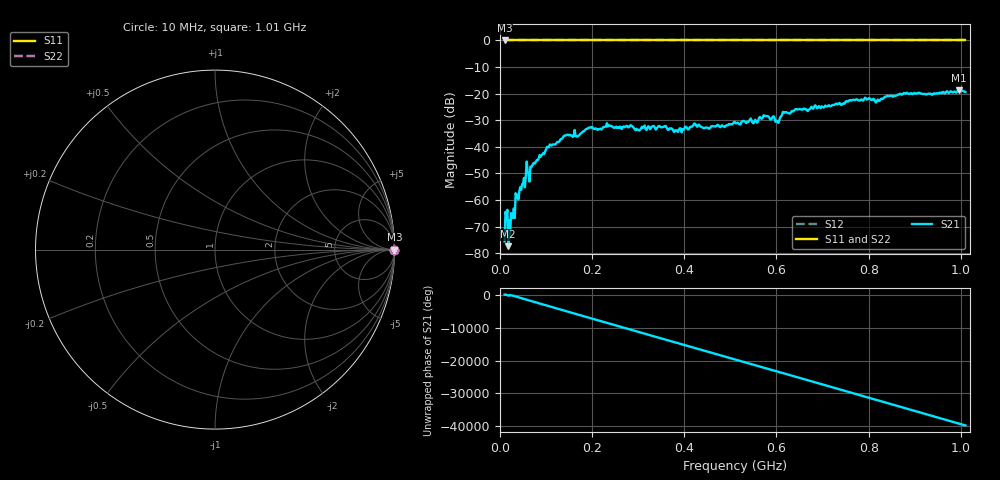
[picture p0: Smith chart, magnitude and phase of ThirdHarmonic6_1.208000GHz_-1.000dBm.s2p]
! 8/16/2025 12:34:16 PM
! C:\ANRITSUVNA\TEMP\TEMP.S2P
! CHANNEL.1
! TR.MEASUREMENT
! RAW.DATA
! RF.CORRECTION.OFF
! AVERAGING.OFF
! IF.BANDWIDTH: 5KHZ
! SWEEPTYPE:  FREQ.SWEEP(Linear)
! Reference Plane Port Info
! PORT:  PORT1  PORT2
! DISTANCE:  0  m  0  m
! TIME:  0  s  0  s
! PHASE.OFFSET:  0  deg.  0  deg.
! LOSS:  0  dB  0  dB
! REF.LOSS:  0  dB  0  dB
! REF.FREQ:  0  Hz  0  Hz
! Power Info
! POWER:  -20  dBm  -20  dBm
! EFF.POWER:  -20  dBm  -20  dBm
! SOURCE.ATTEN:  0  dB  0  dB
! TEST.ATTEN:  0  dB  0  dB
# GHZ S RI R 50.0
! FREQ.GHZ  S11RE  S11IM  S21RE  S21IM  S12RE  S12IM  S22RE  S22IM
!; PortSelection: Port_12
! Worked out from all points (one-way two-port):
!   501 points, 10 MHz to 1.01 GHz, reference 50 ohm
!   highest |S21| = -18.68 dB at 996 MHz (marker M1); lowest = -77.3 dB at 18 MHz (marker M2)
!   lowest |S11| = 0.0 dB at 10 MHz (marker M3)
!   |S11| at or under -10 dB: nowhere
!   |S22| runs from 0.0 to 0.0 dB; largest |S21 - S12| = 1.1
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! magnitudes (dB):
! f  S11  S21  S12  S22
! 10 MHz  0.0  -75.5  0.0  0.0
! 16 MHz  0.0  -63.6  0.0  0.0
! 18 MHz  0.0  -77.3  0.0  0.0
! 22 MHz  0.0  -73.8  0.0  0.0
! 38 MHz  0.0  -58.0  0.0  0.0
! 70 MHz  0.0  -47.0  0.0  0.0
! 106 MHz  0.0  -40.2  0.0  0.0
! 142 MHz  0.0  -35.8  0.0  0.0
! 178 MHz  0.0  -34.6  0.0  0.0
! 236 MHz  0.0  -31.8  0.0  0.0
! 344 MHz  0.0  -32.2  0.0  0.0
! 382 MHz  0.0  -33.8  0.0  0.0
! 422 MHz  0.0  -31.2  0.0  0.0
! 452 MHz  0.0  -33.1  0.0  0.0
! 510 MHz  0.0  -30.6  0.0  0.0
! 576 MHz  0.0  -28.5  0.0  0.0
! 602 MHz  0.0  -30.3  0.0  0.0
! 618 MHz  0.0  -27.1  0.0  0.0
! 678 MHz  0.0  -25.5  0.0  0.0
! 844 MHz  0.0  -21.0  0.0  0.0
! 996 MHz  0.0  -18.7  0.0  0.0
! 1.01 GHz  0.0  -19.4  0.0  0.0
